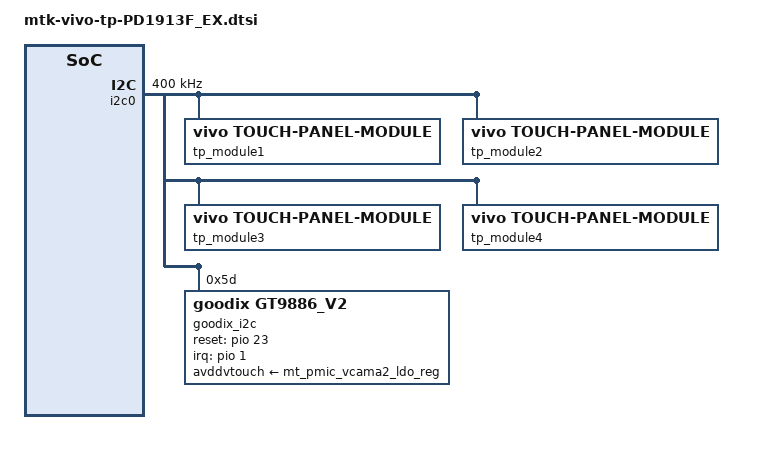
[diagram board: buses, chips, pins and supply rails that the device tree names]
/*********************touch screen config *************************/
&pio {
	spi_driving_set_cfg:spi_driving_set {
		pins_cmd_dat {
			pinmux = <PINMUX_GPIO26__FUNC_SPI2_MO>;
			drive-strength = <2>; //0:2mA 1:4mA 2:6mA 3:8mA 4:10mA 5:12mA 6:14mA 7:16mA
		};
	};
};

&i2c0 {
	#address-cells = <1>;
	#size-cells = <0>;
	clock-frequency = <400000>;
	mediatek,use-open-drain;
	//cap_touch_mtk:cap_touch@5d {
	//	compatible = "mediatek,cap_touch";
	//	reg = <0x5d>;
	//	status = "okay";
	//};

	tp_module1 {
		compatible = "vivo,touch-panel-module";
		vts-ic-number=<46>;
		vts-type=<0>;
		vts-lcmid=<32>;
		vts-dimention-x=<1080>;
		vts-dimention-y=<2340>;
		vts-tx-sensors=<33>;
		vts-rx-sensors=<15>;
		vts-incell=<0>;
		vts-need-caliberation=<0>;
		vts-virtual-proximinity=<0>;
		vts-long-press=<1>;
		vts-module-vendor=<0x90>;
		vts-game-mode=<1>;
	};
	
	tp_module2 {
		compatible = "vivo,touch-panel-module";
		vts-ic-number=<46>;
		vts-type=<0>;
		vts-lcmid=<33>;
		vts-dimention-x=<1080>;
		vts-dimention-y=<2340>;
		vts-tx-sensors=<33>;
		vts-rx-sensors=<15>;
		vts-incell=<0>;
		vts-need-caliberation=<0>;
		vts-virtual-proximinity=<0>;
		vts-long-press=<1>;
		vts-module-vendor=<0x90>;
		vts-game-mode=<1>;
	};

	tp_module3 {
		compatible = "vivo,touch-panel-module";
		vts-ic-number=<46>;
		vts-type=<0>;
		vts-lcmid=<34>;
		vts-dimention-x=<1080>;
		vts-dimention-y=<2340>;
		vts-tx-sensors=<33>;
		vts-rx-sensors=<15>;
		vts-incell=<0>;
		vts-need-caliberation=<0>;
		vts-virtual-proximinity=<0>;
		vts-long-press=<1>;
		vts-module-vendor=<0x90>;
		vts-game-mode=<1>;
	};

	tp_module4 {
		compatible = "vivo,touch-panel-module";
		vts-ic-number=<46>;
		vts-type=<0>;
		vts-lcmid=<35>;
		vts-dimention-x=<1080>;
		vts-dimention-y=<2340>;
		vts-tx-sensors=<33>;
		vts-rx-sensors=<15>;
		vts-incell=<0>;
		vts-need-caliberation=<0>;
		vts-virtual-proximinity=<0>;
		vts-long-press=<1>;
		vts-module-vendor=<0x90>;
		vts-game-mode=<1>;
	};

	goodix_i2c@5d {
		compatible = "goodix,gt9886_V2";
		reg = <0x5d>;
		interrupt-parent = <&pio>;
		interrupts = <1 IRQ_TYPE_EDGE_FALLING 1 0>;

		//goodix,power-gpio = <&pio 5 0x00>;
		//vtouch-supply = <&pm660_l18>;
		avddvtouch-supply = <&mt_pmic_vcama2_ldo_reg>;
		//cdgoodix,dvdd-gpio = <&pio 26 0x00>;
		/* pins used by touchscreen */
        /*pinctrl-names = "pmx_ts_active","pmx_ts_suspend";*/
        //pinctrl-names ="default";
		/*pinctrl-0 = <&ts_reset_active &ts_int_active>;*/
        /*pinctrl-1 = <&ts_int_suspend &ts_reset_suspend>;*/
		//pinctrl-0 = <&ts_reset_active_gt9886 &ts_int_active_gt9886>;
        
		goodix,reset-gpio = <&pio 23 0x00>;
        goodix,irq-gpio = <&pio 1 0x00>;
		goodix,irq-flags = <2>; /* 1:trigger rising, 2:trigger falling;*/
		
		vts-ic-number=<46>;
		vts-type=<0>;
		sensor-test-key= "com.goodix:GTMTest:android.intent.action.goodix:0:goodixTestResult";
		lcm-noise-test-key="com.goodix.deltadiff:DeltaDiffActivity:null:null:null";
		rawdata-test-key="com.goodix.deltadiff:DataShowActivity:null:null:null";
		rf-noise-test-key="com.goodix.deltadiff:BspTestActivity:com.goodix.deltadiff.action.Receiver:0:GOODIX_DELTA";

        goodix,panel-max-id = <10>;
        goodix,panel-max-x = <1080>;
        goodix,panel-max-y = <2340>;
        goodix,panel-max-w = <512>;
        goodix,panel-max-p = <512>;
		goodix,panel-key-map = <158 172 217>; /*KEY_BACK, KEY_HOMEPAGE, KEY_SEARCH*/
		goodix,power-on-delay-us = <300000>; /*300ms*/
		goodix,power-off-delay-us = <5000>;

		/*goodix,swap-axis;*/
		goodix,x2x;
		goodix,y2y;
		goodix,pen-enable;
		goodix,key-of-pen = <331 332>;/*BTN_STYLUS, BTN_STYLUS2*/
		sensor0 {
			normal-cfg = [ 
			];
		};
	};
};
		

	
